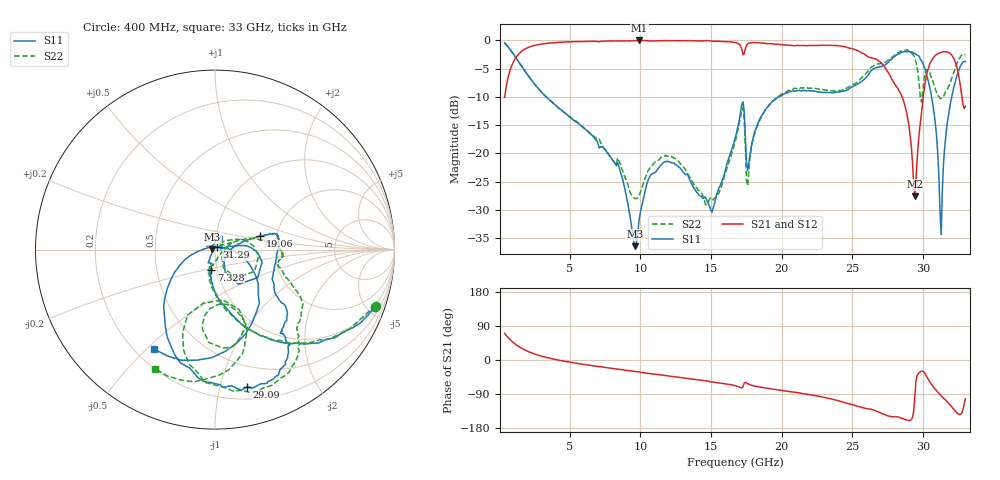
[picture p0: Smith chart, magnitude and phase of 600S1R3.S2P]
!  American Technical Ceramics  Date:  10/26/00
!  One Norden Lane
!  Huntington Station,  NY.  11746-2102
!  Tel:  (631) 622-4700  Fax:  (631) 622-4748
!  Part Number  600S1R3AW  Mounting Orientation: Horizontal
!  Description: Ultra Low ESR Microwave capacitors
!  Application: Coupling, Bypass, Tuning, DC Block
!  Filters, Matching
# GHZ S DB R 50
! Freq  |S11|  S11 Ph  |S21|  S21 Ph  |S12|  S12 Ph  |S22|  S22 Ph
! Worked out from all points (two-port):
!   401 points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, 400 MHz to 33 GHz, reference 50 ohm
!   highest |S21| = -0.02 dB at 9.936 GHz (marker M1); lowest = -27.6 dB at 29.41 GHz (marker M2)
!   |S21| within 3 dB of the highest: 1.22 GHz to 26.21 GHz (24.99 GHz wide, 182 % of centre); 30.76 GHz to 32.13 GHz (1.375 GHz wide, 4.37 % of centre)
!   lowest |S11| = -36.4 dB at 9.61 GHz (marker M3), VSWR 1.03, Z = 48.5 + j0.082 ohm
!   |S11| at or under -10 dB: 3.347 GHz to 19.81 GHz (16.46 GHz wide, 142 % of centre); 30.61 GHz to 32.04 GHz (1.431 GHz wide, 4.57 % of centre)
!   |S22| runs from -29.1 to -0.5 dB; largest |S21 - S12| = 0.0091
!   S11 on the Smith chart (normalised r, x): 400 MHz: 0.90, -5.66; 7.328 GHz: 0.94, -0.21; 19.06 GHz: 1.64, +0.26; 29.09 GHz: 0.31, -1.22; 31.29 GHz: 1.02, +0.03; 33 GHz: 0.28, -0.53
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0.4  -0.46 -19.6  -10.11 70.2  -10.12 70.1  -0.45 -19.2
2.275  -6.93 -69.5  -1.07 19.1  -1.06 19.2  -6.96 -69.8
5.861  -15.22 -96.7  -0.22 -10.9  -0.22 -10.9  -15.17 -100.1
7.328  -18.94 -100.4  -0.16 -18.6  -0.16 -18.6  -18.70 -107.1
8.55  -22.93 -118.2  -0.12 -25.1  -0.12 -25.2  -21.66 -95.4
9.61  -36.43 176.8  -0.08 -30.0  -0.09 -30.1  -27.98 -40.8
9.936  -31.46 109.4  -0.02 -31.8  -0.04 -31.9  -27.38 -13.7
11.321  -22.51 70.6  -0.06 -38.6  -0.08 -38.8  -21.09 19.6
15.07  -30.42 9.8  -0.14 -57.8  -0.14 -57.7  -28.06 43.6
16.7  -17.42 9.7  -0.36 -67.7  -0.36 -67.5  -18.07 26.8
17.189  -11.33 -14.7  -1.66 -73.9  -1.66 -73.6  -12.18 -8.4
17.678  -21.73 -4.1  -0.50 -63.9  -0.50 -64.0  -23.05 13.0
19.064  -11.66 16.7  -0.59 -75.0  -0.56 -74.9  -11.60 11.6
22.161  -8.98 4.4  -0.93 -92.5  -0.91 -92.4  -8.48 -6.0
27.621  -3.63 -52.3  -6.01 -148.6  -6.04 -148.8  -3.40 -46.9
29.088  -2.11 -76.8  -16.74 -159.1  -16.67 -158.5  -1.99 -82.6
29.414  -2.28 -86.7  -27.62 -100.9  -27.24 -100.0  -3.16 -97.7
29.822  -3.41 -102.0  -14.47 -30.6  -14.37 -31.3  -10.28 -102.6
30.555  -9.24 -140.6  -3.78 -61.4  -3.84 -61.3  -6.36 -96.3
31.289  -34.39 56.0  -2.12 -94.3  -2.17 -94.0  -10.30 -83.2
32.267  -7.50 -57.2  -3.72 -133.8  -3.75 -134.0  -5.00 -72.9
33  -3.74 -121.2  -11.67 -101.9  -11.49 -102.3  -2.59 -116.6
